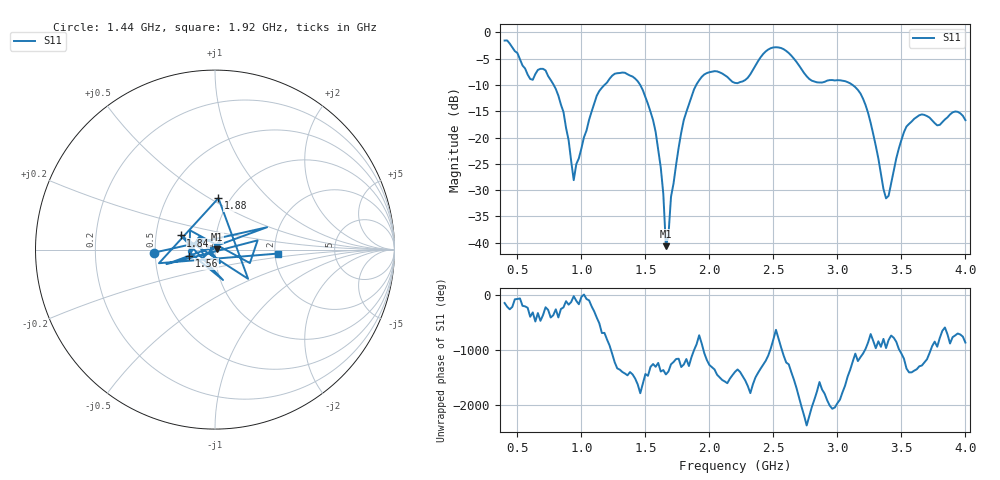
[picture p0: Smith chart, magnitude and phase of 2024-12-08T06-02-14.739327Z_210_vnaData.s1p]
!Created with skrf (http://scikit-rf.org).
# Hz S RI R 50.0
!freq ReS11 ImS11
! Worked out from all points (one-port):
!   181 points, 400 MHz to 4 GHz, reference 50 ohm
!   lowest |S11| = -40.6 dB at 1.66 GHz (marker M1), VSWR 1.02, Z = 50.9 + j0.071 ohm
!   |S11| at or under -10 dB: 783.4 MHz to 1.18 GHz (396.7 MHz wide, 40.4 % of centre); 1.46 GHz to 1.897 GHz (437.5 MHz wide, 26.1 % of centre); 3.118 GHz to end of sweep
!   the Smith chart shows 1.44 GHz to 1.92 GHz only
!   S11 on the Smith chart (normalised r, x): 1.44 GHz: 0.49, -0.02; 1.56 GHz: 0.75, -0.05; 1.84 GHz: 0.67, +0.11; 1.88 GHz: 0.88, +0.55; 1.92 GHz: 2.07, -0.10
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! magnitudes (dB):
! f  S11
! 400 MHz  -1.6
! 600 MHz  -8.9
! 720 MHz  -7.2
! 860 MHz  -15.1
! 940 MHz  -28.1
! 1.12 GHz  -12.0
! 1.3 GHz  -7.7
! 1.44 GHz  -9.3
! 1.56 GHz  -16.7
! 1.62 GHz  -25.7
! 1.64 GHz  -30.7
! 1.66 GHz  -40.6
! 1.68 GHz  -38.6
! 1.7 GHz  -31.3
! 1.76 GHz  -21.9
! 1.84 GHz  -13.7
! 1.88 GHz  -10.8
! 1.92 GHz  -9.1
! 2.06 GHz  -7.4
! 2.2 GHz  -9.6
! 2.48 GHz  -3.0
! 2.66 GHz  -5.0
! 2.8 GHz  -9.2
! 3.1 GHz  -9.7
! 3.24 GHz  -15.3
! 3.38 GHz  -31.6
! 3.56 GHz  -17.4
! 4 GHz  -16.7
